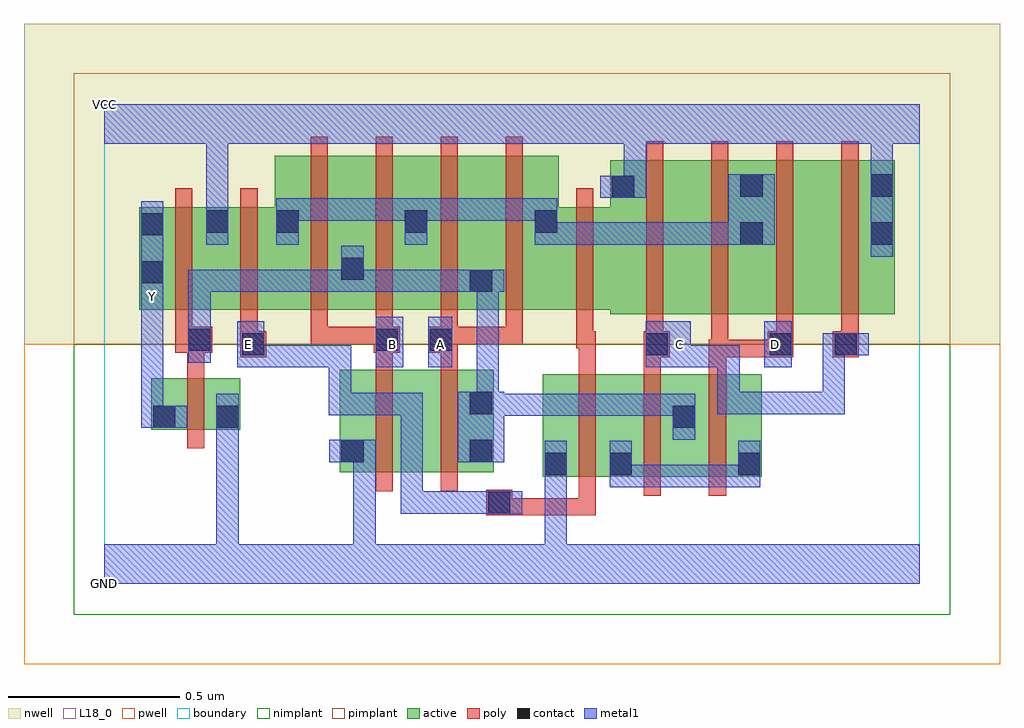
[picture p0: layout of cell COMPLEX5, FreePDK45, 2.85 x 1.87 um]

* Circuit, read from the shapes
.subckt COMPLEX5 A B C D E GND VCC Y
M1 GND n1 Y VSUBS nfet w=0.15u l=0.05u
M2 n2 B GND VSUBS nfet w=0.3u l=0.05u
M3 n1 A n2 VSUBS nfet w=0.3u l=0.05u
M4 n3 E GND VSUBS nfet w=0.3u l=0.05u
M5 n1 C n3 VSUBS nfet w=0.3u l=0.05u
M6 n3 D n1 VSUBS nfet w=0.3u l=0.05u
M7 VCC n1 Y n4 pfet w=0.3u l=0.05u
M8 n5 E VCC n4 pfet w=0.3u l=0.05u m=2
M9 n1 B n5 n4 pfet w=0.45u l=0.05u m=2
M10 n1 A n5 n4 pfet w=0.45u l=0.05u m=2
M11 n6 C VCC n4 pfet w=0.45u l=0.05u
M12 n5 D n6 n4 pfet w=0.45u l=0.05u
M13 n7 D n5 n4 pfet w=0.45u l=0.05u
M14 VCC C n7 n4 pfet w=0.45u l=0.05u
.ends

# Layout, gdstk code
import gdstk
lib = gdstk.Library(unit=1e-6, precision=1e-09)
def R(c, l, rs):  # rectangles x0, y0, x1, y1
    for r in rs: c.add(gdstk.rectangle(r[:2], r[2:], *l))
def A(c, l, x, y, w, h, nx, ny, dx, dy):  # array of equal rectangles
    R(c, l, [(x+i*dx, y+j*dy, x+i*dx+w, y+j*dy+h) for i in range(nx) for j in range(ny)])
active = (1, 0)
pwell = (2, 0)
nwell = (3, 0)
nimplant = (4, 0)
pimplant = (5, 0)
poly = (9, 0)
contact = (10, 0)
metal1 = (11, 0)
L18_0 = (18, 0)
boundary = (235, 0)

complex5 = lib.new_cell('COMPLEX5')
R(complex5, active, [(1.28,0.312,1.355,0.612), (1.28,0.312,1.545,0.612), (1.47,0.312,1.73,0.612), (1.47,0.312,1.545,0.547), (1.655,0.312,1.92,0.612), (1.845,0.312,1.92,0.612), (0.687,0.325,0.912,0.625), (0.687,0.325,0.762,0.547), (0.912,0.325,1.137,0.625), (1.062,0.337,1.137,0.625), (1.655,0.345,1.73,0.525), (0.137,0.45,0.212,0.6), (0.137,0.45,0.397,0.6), (0.322,0.45,0.397,0.6), (1.477,0.787,1.702,1.237), (1.702,0.787,1.927,1.237), (1.852,0.787,2.082,1.237), (2.082,0.787,2.307,1.237), (2.232,0.787,2.307,1.205), (0.102,0.8,0.177,1.1), (0.102,0.8,0.367,1.1), (0.292,0.8,0.572,1.1), (0.497,0.8,0.762,1.25), (0.687,0.8,0.762,1.07), (0.687,0.8,0.947,1.25), (0.872,0.8,1.137,1.25), (1.062,0.8,1.327,1.25), (1.062,0.8,1.137,1.07), (1.252,0.8,1.552,1.1), (1.252,0.8,1.327,1.2), (0.872,0.852,0.947,1.2), (1.852,0.857,1.927,1.2), (0.292,1.007,0.367,1.1), (0.497,1.007,0.572,1.2), (1.477,1.007,1.552,1.197)])
R(complex5, pwell, [(-0.235,-0.235,2.615,0.7)])
R(complex5, nwell, [(-0.235,0.7,2.615,1.635)])
R(complex5, nimplant, [(-0.09,-0.09,2.47,0.7)])
R(complex5, pimplant, [(-0.09,0.7,2.47,1.49)])
A(complex5, poly, 1.385, 0.257, 0.05, 0.41, 3, 1, 0.19, 0)
A(complex5, poly, 0.602, 0.7, 0.05, 0.095, 4, 1, 0.19, 0)
A(complex5, poly, 1.582, 0.732, 0.05, 0.56, 4, 1, 0.19, 0)
A(complex5, poly, 0.602, 0.745, 0.05, 0.56, 4, 1, 0.19, 0)
R(complex5, poly, [(1.115,0.2,1.19,0.275), (1.14,0.2,1.19,0.25), (1.14,0.2,1.19,0.25), (1.14,0.2,1.435,0.25), (1.385,0.2,1.435,0.25), (1.385,0.2,1.435,0.25), (1.385,0.2,1.435,0.25), (1.385,0.2,1.435,0.307), (0.792,0.27,0.842,0.68), (0.982,0.27,1.032,0.68), (0.242,0.395,0.292,0.655), (0.242,0.605,0.292,0.725), (1.385,0.617,1.435,0.737), (1.575,0.617,1.625,0.712), (1.765,0.617,1.815,0.712), (0.792,0.63,0.842,0.725), (0.982,0.63,1.032,0.725), (0.397,0.662,0.472,0.737), (1.575,0.662,1.65,0.737), (1.765,0.662,1.822,0.712), (1.772,0.662,1.987,0.712), (1.772,0.662,1.822,0.712), (1.772,0.662,1.822,0.712), (1.772,0.662,1.822,0.782), (1.937,0.662,2.012,0.737), (2.127,0.662,2.202,0.737), (0.207,0.675,0.315,0.75), (0.787,0.675,0.862,0.75), (0.945,0.675,1.032,0.75), (0.397,0.687,0.447,0.795), (1.377,0.687,1.427,0.737), (1.377,0.687,1.427,1.155), (1.377,0.687,1.435,0.737), (1.582,0.687,1.632,0.782), (1.962,0.687,2.012,0.782), (2.152,0.687,2.202,0.782), (0.207,0.7,0.257,0.795), (0.602,0.7,0.652,0.75), (0.602,0.7,0.652,0.75), (0.602,0.7,0.652,0.75), (0.602,0.7,0.837,0.75), (0.982,0.7,1.032,0.75), (0.982,0.7,1.032,0.75), (0.982,0.7,1.222,0.75), (1.172,0.7,1.222,0.75), (0.207,0.745,0.257,1.155), (0.397,0.745,0.447,1.155)])
R(complex5, contact, [(1.12,0.205,1.185,0.27), (1.285,0.317,1.35,0.382), (1.475,0.317,1.54,0.382), (1.85,0.317,1.915,0.382), (0.692,0.355,0.757,0.42), (1.067,0.355,1.132,0.42), (0.142,0.455,0.207,0.52), (0.327,0.455,0.392,0.52), (1.66,0.455,1.725,0.52), (1.067,0.495,1.132,0.56), (0.402,0.667,0.467,0.732), (1.58,0.667,1.645,0.732), (1.942,0.667,2.007,0.732), (2.132,0.667,2.197,0.732), (0.245,0.68,0.31,0.745), (0.792,0.68,0.857,0.745), (0.95,0.68,1.015,0.745), (1.067,0.852,1.132,0.917), (0.107,0.877,0.172,0.942), (0.692,0.887,0.757,0.952), (1.857,0.99,1.922,1.055), (2.237,0.99,2.302,1.055), (0.107,1.017,0.172,1.082), (0.297,1.025,0.362,1.09), (0.502,1.025,0.567,1.09), (0.877,1.025,0.942,1.09), (1.257,1.025,1.322,1.09), (1.482,1.127,1.547,1.192), (1.857,1.13,1.922,1.195), (2.237,1.13,2.302,1.195)])
R(complex5, metal1, [(0,0,2.38,0.115), (0.327,0.05,0.392,0.115), (0.327,0.05,0.392,0.115), (0.327,0.05,0.392,0.485), (0.727,0.05,0.792,0.42), (1.285,0.05,1.35,0.115), (1.285,0.05,1.35,0.115), (1.285,0.05,1.35,0.115), (1.285,0.05,1.35,0.115), (1.285,0.05,1.35,0.347), (0.865,0.205,0.93,0.27), (0.865,0.205,0.93,0.27), (0.865,0.205,0.93,0.27), (0.865,0.205,1.15,0.27), (0.865,0.205,0.93,0.557), (1.085,0.205,1.15,0.27), (1.085,0.205,1.15,0.27), (1.085,0.205,1.22,0.27), (1.285,0.282,1.35,0.417), (1.475,0.282,1.54,0.417), (1.475,0.282,1.712,0.347), (1.647,0.282,1.712,0.347), (1.647,0.282,1.712,0.347), (1.647,0.282,1.712,0.347), (1.647,0.282,1.85,0.347), (1.785,0.282,1.85,0.347), (1.785,0.282,1.915,0.347), (1.85,0.282,1.915,0.417), (0.657,0.355,0.792,0.42), (0.727,0.355,0.792,0.42), (0.727,0.355,0.792,0.42), (0.727,0.355,0.792,0.42), (0.727,0.355,0.792,0.42), (1.032,0.355,1.167,0.56), (0.327,0.42,0.392,0.485), (0.327,0.42,0.392,0.485), (0.327,0.42,0.392,0.485), (0.327,0.42,0.392,0.485), (0.327,0.42,0.392,0.555), (1.66,0.42,1.725,0.555), (0.107,0.455,0.242,0.52), (0.107,0.455,0.172,0.837), (1.102,0.49,1.167,0.555), (1.102,0.49,1.167,0.555), (1.102,0.49,1.305,0.555), (1.24,0.49,1.305,0.555), (1.24,0.49,1.507,0.555), (1.442,0.49,1.507,0.555), (1.442,0.49,1.507,0.555), (1.442,0.49,1.507,0.555), (1.442,0.49,1.645,0.555), (1.58,0.49,1.645,0.555), (1.58,0.49,1.725,0.555), (0.655,0.492,0.72,0.557), (0.655,0.492,0.757,0.557), (0.655,0.492,0.72,0.697), (0.692,0.492,0.757,0.557), (0.692,0.492,0.93,0.557), (0.865,0.492,0.93,0.557), (0.865,0.492,0.93,0.557), (0.865,0.492,0.93,0.557), (1.087,0.495,1.152,0.56), (1.087,0.495,1.152,0.56), (1.087,0.495,1.152,0.917), (1.79,0.495,1.855,0.56), (1.79,0.495,2.025,0.56), (1.79,0.495,1.855,0.697), (1.96,0.495,2.025,0.56), (1.96,0.495,2.162,0.56), (2.097,0.495,2.162,0.56), (2.097,0.495,2.162,0.732), (0.387,0.632,0.467,0.767), (0.402,0.632,0.467,0.697), (0.402,0.632,0.467,0.697), (0.402,0.632,0.62,0.697), (0.555,0.632,0.62,0.697), (0.555,0.632,0.72,0.697), (0.655,0.632,0.72,0.697), (0.792,0.632,0.872,0.78), (0.945,0.632,1.015,0.78), (1.58,0.632,1.712,0.767), (1.647,0.632,1.712,0.697), (1.647,0.632,1.712,0.697), (1.647,0.632,1.855,0.697), (1.79,0.632,1.855,0.697), (1.79,0.632,1.855,0.697), (1.79,0.632,1.855,0.697), (1.927,0.632,2.007,0.767), (0.245,0.645,0.31,0.78), (2.097,0.667,2.162,0.732), (2.097,0.667,2.162,0.732), (2.097,0.667,2.232,0.732), (0.245,0.715,0.31,0.78), (0.245,0.715,0.31,0.78), (0.245,0.715,0.31,0.917), (0.107,0.772,0.172,0.907), (0.107,0.842,0.172,1.117), (0.107,0.842,0.172,0.907), (0.245,0.852,0.31,0.917), (0.245,0.852,0.482,0.917), (0.417,0.852,0.482,0.917), (0.417,0.852,0.482,0.917), (0.417,0.852,0.482,0.917), (0.417,0.852,0.62,0.917), (0.555,0.852,0.62,0.917), (0.555,0.852,0.757,0.917), (0.692,0.852,0.757,0.917), (0.692,0.852,0.757,0.917), (0.692,0.852,0.757,0.987), (0.692,0.852,0.93,0.917), (0.865,0.852,0.93,0.917), (0.865,0.852,0.93,0.917), (0.865,0.852,0.93,0.917), (0.865,0.852,1.097,0.917), (1.032,0.852,1.167,0.917), (2.237,0.955,2.302,1.23), (0.297,0.99,0.362,1.125), (0.502,0.99,0.567,1.125), (0.877,0.99,0.942,1.125), (1.257,0.99,1.322,1.055), (1.257,0.99,1.322,1.055), (1.257,0.99,1.322,1.125), (1.257,0.99,1.487,1.055), (1.422,0.99,1.487,1.055), (1.422,0.99,1.487,1.055), (1.422,0.99,1.487,1.055), (1.422,0.99,1.677,1.055), (1.612,0.99,1.677,1.055), (1.612,0.99,1.677,1.055), (1.612,0.99,1.677,1.055), (1.612,0.99,1.85,1.055), (1.785,0.99,1.85,1.055), (1.785,0.99,1.887,1.055), (1.822,0.99,1.957,1.195), (0.297,1.06,0.362,1.35), (0.502,1.06,0.62,1.125), (0.555,1.06,0.62,1.125), (0.555,1.06,0.792,1.125), (0.727,1.06,0.792,1.125), (0.727,1.06,0.792,1.125), (0.727,1.06,0.792,1.125), (0.727,1.06,0.942,1.125), (0.877,1.06,0.942,1.125), (0.877,1.06,0.942,1.125), (0.877,1.06,1.152,1.125), (1.087,1.06,1.152,1.125), (1.087,1.06,1.152,1.125), (1.087,1.06,1.152,1.125), (1.087,1.06,1.322,1.125), (1.447,1.127,1.582,1.192), (1.517,1.127,1.582,1.35), (2.237,1.165,2.302,1.35), (0,1.285,2.38,1.4), (0.297,1.285,0.362,1.35), (0.297,1.285,0.362,1.35)])
R(complex5, L18_0, [(0,0,2.38,0.115), (0.327,0.05,0.392,0.115), (0.327,0.05,0.392,0.115), (0.327,0.05,0.392,0.485), (0.727,0.05,0.792,0.42), (1.285,0.05,1.35,0.115), (1.285,0.05,1.35,0.115), (1.285,0.05,1.35,0.115), (1.285,0.05,1.35,0.115), (1.285,0.05,1.35,0.347), (0.865,0.205,0.93,0.27), (0.865,0.205,0.93,0.27), (0.865,0.205,0.93,0.27), (0.865,0.205,0.93,0.557), (0.865,0.205,1.15,0.27), (1.085,0.205,1.22,0.27), (1.085,0.205,1.15,0.27), (1.085,0.205,1.15,0.27), (1.285,0.282,1.35,0.417), (0.657,0.355,0.792,0.42), (0.727,0.355,0.792,0.42), (0.727,0.355,0.792,0.42), (0.727,0.355,0.792,0.42), (0.727,0.355,0.792,0.42), (0.327,0.42,0.392,0.555), (0.327,0.42,0.392,0.485), (0.327,0.42,0.392,0.485), (0.327,0.42,0.392,0.485), (0.327,0.42,0.392,0.485), (0.107,0.455,0.242,0.52), (0.107,0.455,0.172,0.837), (0.655,0.492,0.72,0.557), (0.655,0.492,0.72,0.697), (0.655,0.492,0.757,0.557), (0.692,0.492,0.757,0.557), (0.692,0.492,0.93,0.557), (0.865,0.492,0.93,0.557), (0.865,0.492,0.93,0.557), (0.865,0.492,0.93,0.557), (1.79,0.495,1.855,0.56), (1.79,0.495,1.855,0.697), (1.79,0.495,2.025,0.56), (1.96,0.495,2.025,0.56), (1.96,0.495,2.162,0.56), (2.097,0.495,2.162,0.56), (2.097,0.495,2.162,0.732), (0.387,0.632,0.467,0.767), (0.402,0.632,0.467,0.697), (0.402,0.632,0.467,0.697), (0.402,0.632,0.62,0.697), (0.555,0.632,0.62,0.697), (0.555,0.632,0.72,0.697), (0.655,0.632,0.72,0.697), (0.792,0.632,0.872,0.78), (0.945,0.632,1.015,0.78), (1.58,0.632,1.712,0.767), (1.647,0.632,1.712,0.697), (1.647,0.632,1.712,0.697), (1.647,0.632,1.855,0.697), (1.79,0.632,1.855,0.697), (1.79,0.632,1.855,0.697), (1.79,0.632,1.855,0.697), (1.927,0.632,2.007,0.767), (0.387,0.667,0.452,0.732), (0.807,0.667,0.872,0.732), (0.947,0.667,1.012,0.732), (1.647,0.667,1.712,0.732), (1.927,0.667,1.992,0.732), (2.097,0.667,2.232,0.732), (2.097,0.667,2.162,0.732), (2.097,0.667,2.162,0.732), (0.107,0.772,0.172,0.907), (0.107,0.807,0.172,0.872), (0.107,0.842,0.172,1.117), (0.107,0.842,0.172,0.907), (2.237,0.955,2.302,1.23), (0.297,0.99,0.362,1.125), (0.297,1.06,0.362,1.35), (1.447,1.127,1.582,1.192), (1.517,1.127,1.582,1.35), (2.237,1.165,2.302,1.35), (0,1.285,2.38,1.4), (0.297,1.285,0.362,1.35), (0.297,1.285,0.362,1.35)])
R(complex5, boundary, [(0,0,2.38,1.4)])
complex5.add(gdstk.Label('A', (0.98,0.7), layer=11, texttype=0))
complex5.add(gdstk.Label('B', (0.84,0.7), layer=11, texttype=0))
complex5.add(gdstk.Label('C', (1.68,0.7), layer=11, texttype=0))
complex5.add(gdstk.Label('D', (1.96,0.7), layer=11, texttype=0))
complex5.add(gdstk.Label('E', (0.42,0.7), layer=11, texttype=0))
complex5.add(gdstk.Label('Y', (0.14,0.84), layer=11, texttype=0))
complex5.add(gdstk.Label('VCC', (0,1.4), layer=11, texttype=0))
complex5.add(gdstk.Label('GND', (0,0), layer=11, texttype=0))

lib.write_gds('COMPLEX5.gds')
